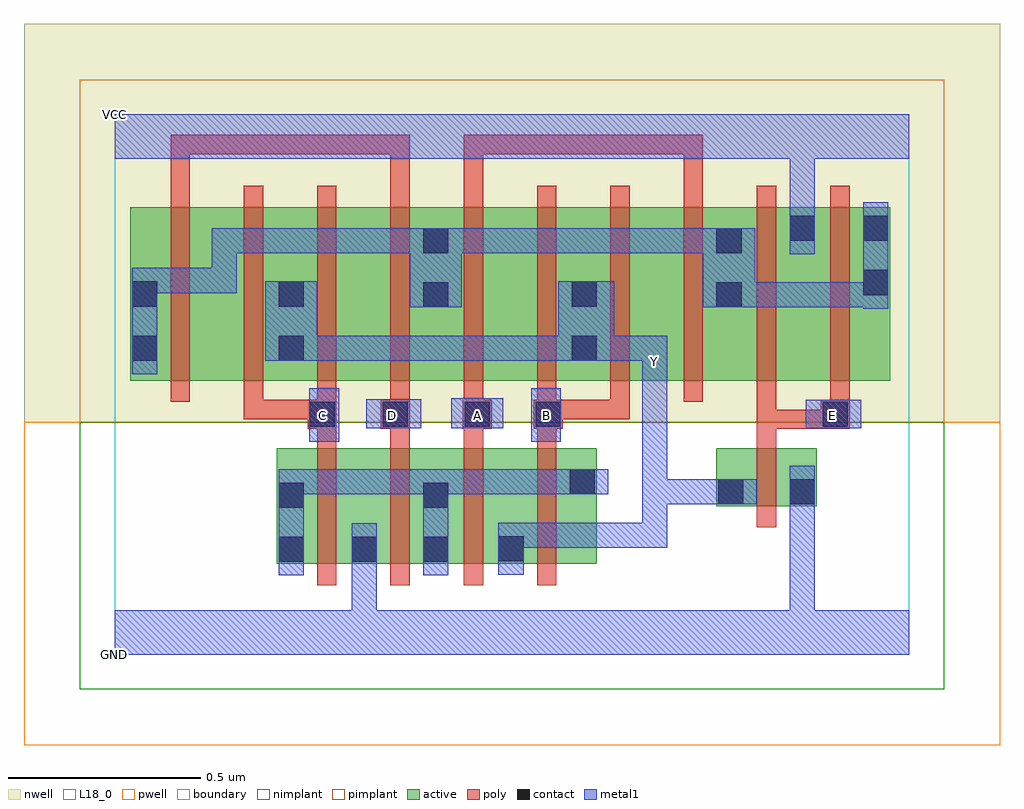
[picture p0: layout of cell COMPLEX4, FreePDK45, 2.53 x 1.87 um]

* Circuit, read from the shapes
.subckt COMPLEX4 A B C D E GND VCC Y
M1 GND C n1 VSUBS nfet w=0.3u l=0.05u
M2 n1 D GND VSUBS nfet w=0.3u l=0.05u
M3 Y A n1 VSUBS nfet w=0.3u l=0.05u
M4 n1 B Y VSUBS nfet w=0.3u l=0.05u
M5 GND E Y VSUBS nfet w=0.15u l=0.05u
M6 n2 D n3 n4 pfet w=0.45u l=0.05u
M7 Y C n2 n4 pfet w=0.45u l=0.05u
M8 n5 C Y n4 pfet w=0.45u l=0.05u
M9 n3 D n5 n4 pfet w=0.45u l=0.05u
M10 n6 A n3 n4 pfet w=0.45u l=0.05u
M11 Y B n6 n4 pfet w=0.45u l=0.05u
M12 n7 B Y n4 pfet w=0.45u l=0.05u
M13 n3 A n7 n4 pfet w=0.45u l=0.05u
M14 VCC E n3 n4 pfet w=0.45u l=0.05u m=2
.ends

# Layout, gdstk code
import gdstk
lib = gdstk.Library(unit=1e-6, precision=1e-09)
def R(c, l, rs):  # rectangles x0, y0, x1, y1
    for r in rs: c.add(gdstk.rectangle(r[:2], r[2:], *l))
def A(c, l, x, y, w, h, nx, ny, dx, dy):  # array of equal rectangles
    R(c, l, [(x+i*dx, y+j*dy, x+i*dx+w, y+j*dy+h) for i in range(nx) for j in range(ny)])
active = (1, 0)
pwell = (2, 0)
nwell = (3, 0)
nimplant = (4, 0)
pimplant = (5, 0)
poly = (9, 0)
contact = (10, 0)
metal1 = (11, 0)
L18_0 = (18, 0)
boundary = (235, 0)

complex4 = lib.new_cell('COMPLEX4')
R(complex4, active, [(0.42,0.235,0.685,0.535), (0.42,0.235,0.495,0.535), (0.61,0.235,0.87,0.535), (0.61,0.235,0.685,0.392), (0.795,0.235,1.065,0.535), (0.795,0.235,0.87,0.45), (0.99,0.235,1.25,0.535), (0.99,0.235,1.065,0.392), (1.175,0.247,1.25,0.535), (1.56,0.385,1.635,0.535), (1.56,0.385,1.82,0.535), (1.745,0.385,1.82,0.535), (0.04,0.71,0.265,1.16), (0.04,0.71,0.115,1.107), (0.265,0.71,0.495,1.16), (0.42,0.71,0.645,1.16), (0.645,0.71,0.87,1.16), (0.795,0.71,1.025,1.16), (1.025,0.71,1.255,1.16), (1.18,0.71,1.405,1.16), (1.405,0.71,1.63,1.16), (1.555,0.71,1.82,1.16), (1.745,0.71,2.01,1.16), (1.935,0.71,2.01,1.142), (0.795,0.722,0.87,1.11), (0.42,0.732,0.495,1.07), (1.18,0.732,1.255,1.07), (1.555,0.812,1.63,1.11), (1.745,0.812,1.82,1.142)])
R(complex4, pwell, [(-0.235,-0.235,2.295,0.602)])
R(complex4, nwell, [(-0.235,0.602,2.295,1.635)])
R(complex4, nimplant, [(-0.09,-0.09,2.15,0.602)])
R(complex4, pimplant, [(-0.09,0.602,2.15,1.49)])
A(complex4, poly, 0.525, 0.18, 0.05, 0.41, 4, 1, 0.19, 0)
A(complex4, poly, 0.525, 0.54, 0.05, 0.095, 4, 1, 0.19, 0)
A(complex4, poly, 0.335, 0.61, 0.05, 0.095, 6, 1, 0.19, 0)
A(complex4, poly, 0.145, 0.655, 0.05, 0.56, 10, 1, 0.19, 0)
R(complex4, poly, [(1.665,0.33,1.715,0.59), (1.665,0.54,1.715,0.635), (0.5,0.585,0.575,0.66), (0.69,0.585,0.765,0.66), (0.902,0.585,0.977,0.66), (1.087,0.585,1.162,0.66), (1.665,0.585,1.88,0.635), (1.665,0.585,1.715,0.635), (1.665,0.585,1.715,0.635), (1.665,0.585,1.715,0.635), (1.665,0.585,1.715,0.705), (1.83,0.585,1.905,0.66), (0.335,0.61,0.55,0.66), (0.335,0.61,0.385,0.66), (0.335,0.61,0.385,0.66), (0.335,0.61,0.385,0.66), (1.112,0.61,1.162,0.66), (1.112,0.61,1.162,0.66), (1.112,0.61,1.335,0.66), (1.285,0.61,1.335,0.66), (1.855,0.61,1.905,0.705), (0.145,1.165,0.195,1.347), (0.715,1.165,0.765,1.347), (0.905,1.165,0.955,1.347), (1.475,1.165,1.525,1.347), (0.145,1.297,0.195,1.347), (0.145,1.297,0.195,1.347), (0.145,1.297,0.195,1.347), (0.145,1.297,0.417,1.347), (0.367,1.297,0.417,1.347), (0.367,1.297,0.475,1.347), (0.425,1.297,0.475,1.347), (0.425,1.297,0.607,1.347), (0.557,1.297,0.607,1.347), (0.557,1.297,0.607,1.347), (0.557,1.297,0.607,1.347), (0.557,1.297,0.765,1.347), (0.715,1.297,0.765,1.347), (0.905,1.297,0.955,1.347), (0.905,1.297,0.955,1.347), (0.905,1.297,0.955,1.347), (0.905,1.297,1.11,1.347), (1.06,1.297,1.11,1.347), (1.06,1.297,1.11,1.347), (1.06,1.297,1.11,1.347), (1.06,1.297,1.295,1.347), (1.245,1.297,1.295,1.347), (1.245,1.297,1.295,1.347), (1.245,1.297,1.295,1.347), (1.245,1.297,1.525,1.347), (1.475,1.297,1.525,1.347)])
R(complex4, contact, [(0.425,0.24,0.49,0.305), (0.615,0.24,0.68,0.305), (0.8,0.24,0.865,0.305), (0.995,0.242,1.06,0.307), (0.425,0.38,0.49,0.445), (0.8,0.38,0.865,0.445), (1.565,0.39,1.63,0.455), (1.75,0.39,1.815,0.455), (1.18,0.415,1.245,0.48), (0.505,0.59,0.57,0.655), (0.695,0.59,0.76,0.655), (0.907,0.59,0.972,0.655), (1.092,0.59,1.157,0.655), (1.835,0.59,1.9,0.655), (0.045,0.762,0.11,0.827), (0.425,0.762,0.49,0.827), (1.185,0.762,1.25,0.827), (0.8,0.9,0.865,0.965), (1.56,0.9,1.625,0.965), (0.045,0.902,0.11,0.967), (0.425,0.902,0.49,0.967), (1.185,0.902,1.25,0.967), (1.94,0.932,2.005,0.997), (0.8,1.04,0.865,1.105), (1.56,1.04,1.625,1.105), (1.75,1.072,1.815,1.137), (1.94,1.072,2.005,1.137)])
R(complex4, metal1, [(0,0,2.06,0.115), (0.615,0.05,0.68,0.115), (0.615,0.05,0.68,0.115), (0.615,0.05,0.68,0.27), (1.75,0.05,1.815,0.115), (1.75,0.05,1.815,0.115), (1.75,0.05,1.815,0.42), (0.425,0.205,0.49,0.48), (0.615,0.205,0.68,0.34), (0.8,0.205,0.865,0.48), (0.995,0.207,1.06,0.342), (0.995,0.277,1.06,0.342), (0.995,0.277,1.06,0.342), (0.995,0.277,1.197,0.342), (1.132,0.277,1.197,0.342), (1.132,0.277,1.432,0.342), (1.367,0.277,1.432,0.342), (1.367,0.277,1.432,0.342), (1.367,0.277,1.432,0.342), (1.367,0.277,1.432,0.455), (1.75,0.355,1.815,0.42), (1.75,0.355,1.815,0.42), (1.75,0.355,1.815,0.49), (1.367,0.39,1.432,0.455), (1.367,0.39,1.582,0.455), (1.367,0.39,1.432,0.757), (1.517,0.39,1.582,0.455), (1.517,0.39,1.595,0.455), (1.53,0.39,1.665,0.455), (0.425,0.415,0.525,0.48), (0.46,0.415,0.525,0.48), (0.46,0.415,0.662,0.48), (0.597,0.415,0.662,0.48), (0.597,0.415,0.662,0.48), (0.597,0.415,0.662,0.48), (0.597,0.415,0.865,0.48), (0.8,0.415,0.9,0.48), (0.835,0.415,0.9,0.48), (0.835,0.415,1.037,0.48), (0.972,0.415,1.037,0.48), (0.972,0.415,1.157,0.48), (1.092,0.415,1.157,0.48), (1.092,0.415,1.21,0.48), (1.145,0.415,1.28,0.48), (0.505,0.552,0.582,0.69), (1.08,0.552,1.157,0.69), (0.652,0.587,0.795,0.662), (0.872,0.587,1.007,0.665), (1.792,0.587,1.935,0.66), (1.367,0.692,1.432,0.827), (0.045,0.727,0.11,1.002), (0.39,0.762,0.525,0.967), (0.46,0.762,0.525,0.827), (0.46,0.762,0.525,0.827), (0.46,0.762,0.662,0.827), (0.597,0.762,0.662,0.827), (0.597,0.762,0.662,0.827), (0.597,0.762,0.662,0.827), (0.597,0.762,0.9,0.827), (0.835,0.762,0.9,0.827), (0.835,0.762,0.9,0.827), (0.835,0.762,0.9,0.827), (0.835,0.762,1.037,0.827), (0.972,0.762,1.037,0.827), (0.972,0.762,1.037,0.827), (0.972,0.762,1.037,0.827), (0.972,0.762,1.215,0.827), (1.15,0.762,1.295,0.967), (1.23,0.762,1.295,0.827), (1.23,0.762,1.295,0.827), (1.23,0.762,1.432,0.827), (1.367,0.762,1.432,0.827), (1.367,0.762,1.432,0.827), (1.94,0.897,2.005,1.172), (0.765,0.9,0.9,1.105), (1.525,0.9,1.66,1.105), (1.595,0.9,1.72,0.965), (1.655,0.9,1.72,0.965), (1.655,0.9,1.867,0.965), (1.802,0.9,1.867,0.965), (1.802,0.9,2.005,0.965), (1.94,0.9,2.005,0.965), (1.94,0.9,2.005,0.965), (0.045,0.937,0.11,1.002), (0.045,0.937,0.11,1.002), (0.045,0.937,0.317,1.002), (0.252,0.937,0.317,1.002), (0.252,0.937,0.317,1.105), (1.75,1.037,1.815,1.172), (0.252,1.04,0.317,1.105), (0.252,1.04,0.317,1.105), (0.252,1.04,0.317,1.105), (0.252,1.04,0.455,1.105), (0.39,1.04,0.455,1.105), (0.39,1.04,0.455,1.105), (0.39,1.04,0.455,1.105), (0.39,1.04,0.662,1.105), (0.597,1.04,0.662,1.105), (0.597,1.04,0.662,1.105), (0.597,1.04,0.662,1.105), (0.597,1.04,0.83,1.105), (0.835,1.04,0.9,1.105), (0.835,1.04,0.9,1.105), (0.835,1.04,1.037,1.105), (0.972,1.04,1.037,1.105), (0.972,1.04,1.037,1.105), (0.972,1.04,1.037,1.105), (0.972,1.04,1.295,1.105), (1.23,1.04,1.295,1.105), (1.23,1.04,1.295,1.105), (1.23,1.04,1.295,1.105), (1.23,1.04,1.452,1.105), (1.387,1.04,1.452,1.105), (1.387,1.04,1.452,1.105), (1.387,1.04,1.452,1.105), (1.387,1.04,1.582,1.105), (1.517,1.04,1.582,1.105), (1.517,1.04,1.59,1.105), (1.75,1.107,1.815,1.35), (0,1.285,2.06,1.4), (1.75,1.285,1.815,1.35), (1.75,1.285,1.815,1.35)])
R(complex4, L18_0, [(0,0,2.06,0.115), (0.615,0.05,0.68,0.115), (0.615,0.05,0.68,0.115), (0.615,0.05,0.68,0.27), (1.75,0.05,1.815,0.115), (1.75,0.05,1.815,0.115), (1.75,0.05,1.815,0.42), (0.615,0.205,0.68,0.34), (0.995,0.207,1.06,0.342), (0.995,0.277,1.06,0.342), (0.995,0.277,1.06,0.342), (0.995,0.277,1.197,0.342), (1.132,0.277,1.197,0.342), (1.132,0.277,1.432,0.342), (1.367,0.277,1.432,0.342), (1.367,0.277,1.432,0.342), (1.367,0.277,1.432,0.342), (1.367,0.277,1.432,0.455), (1.75,0.355,1.815,0.42), (1.75,0.355,1.815,0.42), (1.75,0.355,1.815,0.49), (1.367,0.39,1.432,0.455), (1.367,0.39,1.432,0.757), (1.367,0.39,1.582,0.455), (1.517,0.39,1.582,0.455), (1.517,0.39,1.595,0.455), (1.53,0.39,1.665,0.455), (0.505,0.552,0.582,0.69), (1.08,0.552,1.157,0.69), (0.507,0.587,0.572,0.652), (0.652,0.587,0.795,0.662), (0.687,0.587,0.752,0.652), (0.872,0.587,1.007,0.665), (0.907,0.587,0.972,0.652), (1.087,0.587,1.152,0.652), (1.792,0.587,1.935,0.66), (1.827,0.587,1.892,0.652), (1.367,0.692,1.432,0.827), (1.367,0.727,1.432,0.792), (0.39,0.762,0.525,0.967), (0.46,0.762,0.525,0.827), (0.46,0.762,0.525,0.827), (0.46,0.762,0.662,0.827), (0.597,0.762,0.662,0.827), (0.597,0.762,0.662,0.827), (0.597,0.762,0.662,0.827), (0.597,0.762,0.9,0.827), (0.835,0.762,0.9,0.827), (0.835,0.762,0.9,0.827), (0.835,0.762,0.9,0.827), (0.835,0.762,1.037,0.827), (0.972,0.762,1.037,0.827), (0.972,0.762,1.037,0.827), (0.972,0.762,1.037,0.827), (0.972,0.762,1.215,0.827), (1.15,0.762,1.295,0.967), (1.23,0.762,1.295,0.827), (1.23,0.762,1.295,0.827), (1.23,0.762,1.432,0.827), (1.367,0.762,1.432,0.827), (1.367,0.762,1.432,0.827), (1.75,1.037,1.815,1.172), (1.75,1.107,1.815,1.35), (0,1.285,2.06,1.4), (1.75,1.285,1.815,1.35), (1.75,1.285,1.815,1.35)])
R(complex4, boundary, [(0,0,2.06,1.4)])
complex4.add(gdstk.Label('A', (0.94,0.62), layer=11, texttype=0))
complex4.add(gdstk.Label('B', (1.12,0.62), layer=11, texttype=0))
complex4.add(gdstk.Label('C', (0.54,0.62), layer=11, texttype=0))
complex4.add(gdstk.Label('D', (0.72,0.62), layer=11, texttype=0))
complex4.add(gdstk.Label('E', (1.86,0.62), layer=11, texttype=0))
complex4.add(gdstk.Label('Y', (1.4,0.76), layer=11, texttype=0))
complex4.add(gdstk.Label('VCC', (0,1.4), layer=11, texttype=0))
complex4.add(gdstk.Label('GND', (0,0), layer=11, texttype=0))

lib.write_gds('COMPLEX4.gds')
